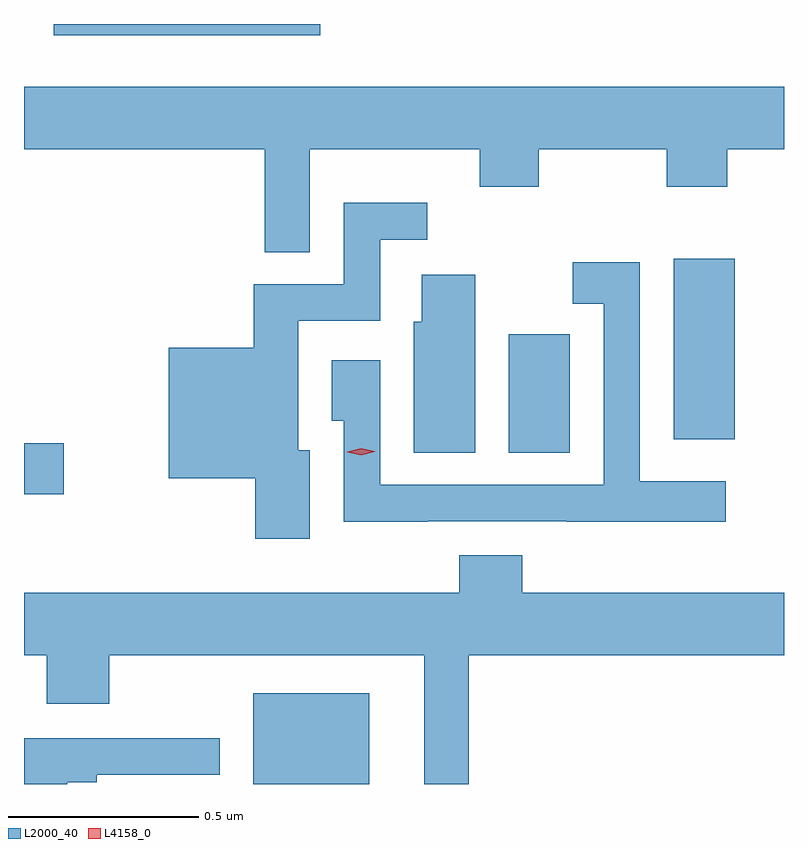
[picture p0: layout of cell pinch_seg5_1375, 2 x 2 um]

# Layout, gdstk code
import gdstk
lib = gdstk.Library(unit=1e-6, precision=1e-09)
def R(c, l, rs):  # rectangles x0, y0, x1, y1
    for r in rs: c.add(gdstk.rectangle(r[:2], r[2:], *l))
def P(c, l, *ps):  # polygons
    for p in ps: c.add(gdstk.Polygon(p, *l))
L2000_40 = (2000, 40)
L4158_0 = (4158, 0)

pinch_seg5_1375 = lib.new_cell('pinch_seg5_1375')
R(pinch_seg5_1375, L2000_40, [(348.494,885.725,348.799,885.964), (347.891,886.487,347.995,886.622), (349.166,886.597,349.327,886.908), (349.601,886.632,349.762,887.107), (347.969,887.696,348.67,887.725)])
P(pinch_seg5_1375, L2000_40, [(348.643,887.396),(349.09,887.396),(349.09,887.297),(349.245,887.297),(349.245,887.396),(349.582,887.396),(349.582,887.297),(349.742,887.297),(349.742,887.396),(349.891,887.396),(349.891,887.56),(347.891,887.56),(347.891,887.396),(348.525,887.396),(348.525,887.125),(348.643,887.125)],
  [(348.643,886.603),(348.613,886.603),(348.613,886.944),(348.828,886.944),(348.828,887.157),(348.952,887.157),(348.952,887.254),(348.732,887.254),(348.732,887.04),(348.495,887.04),(348.495,886.873),(348.272,886.873),(348.272,886.529),(348.5,886.529),(348.5,886.371),(348.643,886.371)],
  [(348.953,886.416),(349.319,886.416),(349.319,886.415),(349.738,886.415),(349.738,886.522),(349.512,886.522),(349.512,887.098),(349.335,887.098),(349.335,886.989),(349.416,886.989),(349.416,886.512),(348.828,886.512),(348.828,886.84),(348.701,886.84),(348.701,886.681),(348.732,886.681),(348.732,886.415),(348.953,886.415)],
  [(349.078,887.065),(348.938,887.065),(348.938,886.941),(348.917,886.941),(348.917,886.597),(349.078,886.597)],
  [(349.061,886.064),(349.891,886.064),(349.891,886.228),(349.202,886.228),(349.202,886.327),(349.037,886.327),(349.037,886.228),(347.891,886.228),(347.891,886.064),(347.951,886.064),(347.951,885.936),(348.115,885.936),(348.115,886.064),(348.944,886.064),(348.944,885.725),(349.061,885.725)],
  [(348.005,885.73),(348.082,885.73),(348.082,885.749),(348.406,885.749),(348.406,885.846),(347.891,885.846),(347.891,885.725),(348.005,885.725)])
P(pinch_seg5_1375, L4158_0, [(348.778,886.59),(348.742,886.598),(348.742,886.598),(348.742,886.599),(348.778,886.609),(348.814,886.601),(348.814,886.601),(348.814,886.6)])

lib.write_gds('pinch_seg5_1375.gds')
